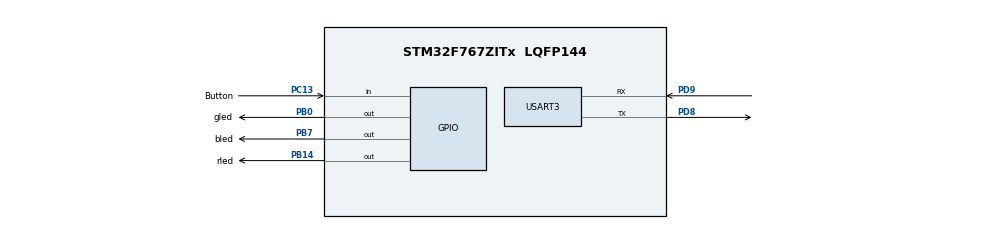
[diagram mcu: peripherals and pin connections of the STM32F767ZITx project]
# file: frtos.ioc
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FREERTOS.Tasks01=defaultTask,24,128,StartDefaultTask,Default,NULL,Dynamic,NULL,NULL;myTask02,8,128,StartTask02,Default,NULL,Dynamic,NULL,NULL;button_task,40,128,Start_button,Default,NULL,Dynamic,NULL,NULL
Mcu.Family=STM32F7
Mcu.Name=STM32F767ZITx
Mcu.Package=LQFP144
NVIC.PriorityGroup=NVIC_PRIORITYGROUP_4
NVIC.USART3_IRQn=true\:5\:0\:false\:false\:true\:true\:true\:true
PB0.GPIO_Label=gled
PB0.Signal=GPIO_Output
PB14.GPIO_Label=rled
PB14.Signal=GPIO_Output
PB7.GPIO_Label=bled
PB7.Signal=GPIO_Output
PC13.GPIO_Label=Button
PC13.Signal=GPIO_Input
PD8.Mode=Asynchronous
PD8.Signal=USART3_TX
PD9.Mode=Asynchronous
PD9.Signal=USART3_RX
ProjectManager.HeapSize=0x200
ProjectManager.StackSize=0x400
ProjectManager.TargetToolchain=STM32CubeIDE
RCC.HSE_VALUE=25000000
RCC.HSI_VALUE=16000000
RCC.LSE_VALUE=32768
RCC.USBFreq_Value=96000000
RCC.VCOOutputFreq_Value=192000000
RTC.Hours=12
USART3.VirtualMode-Asynchronous=VM_ASYNC
VP_FREERTOS_VS_CMSIS_V2.Mode=CMSIS_V2
VP_RTC_VS_RTC_Activate.Mode=RTC_Enabled
VP_RTC_VS_RTC_Calendar.Mode=RTC_Calendar
board=custom

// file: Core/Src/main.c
/* USER CODE BEGIN Header */
/**
  ******************************************************************************
  * @file           : main.c
  * @brief          : Main program body
  ******************************************************************************
  * @attention
  *
  * <h2><center>&copy; Copyright (c) 2023 STMicroelectronics.
  * All rights reserved.</center></h2>
  *
  * This software component is licensed by ST under BSD 3-Clause license,
  * the "License"; You may not use this file except in compliance with the
  * License. You may obtain a copy of the License at:
  *                        opensource.org/licenses/BSD-3-Clause
  *
  ******************************************************************************
  */
/* USER CODE END Header */
#include "main.h"
#include "cmsis_os.h"

/* USER CODE BEGIN Includes */
#include"queue.h"
#include"semphr.h"
#include"FreeRTOS.h"
/* USER CODE END Includes */

RTC_HandleTypeDef hrtc;

UART_HandleTypeDef huart3;

/* Definitions for Employee_task */
osThreadId_t Employee_taskHandle;
const osThreadAttr_t Employee_task_attributes = {
  .name = "Employee_task",
  .stack_size = 128 * 4,
  .priority = (osPriority_t) osPriorityLow,
};
/* Definitions for Manager_task */
osThreadId_t Manager_taskHandle;
const osThreadAttr_t Manager_task_attributes = {
  .name = "Manager_task",
  .stack_size = 128 * 4,
  .priority = (osPriority_t) osPriorityHigh,
};
/* USER CODE BEGIN PV */
xSemaphoreHandle xWork;
QueueHandle_t xWorkQueue;
/* USER CODE END PV */

void SystemClock_Config(void);
static void MX_GPIO_Init(void);
static void MX_RTC_Init(void);
static void MX_USART3_UART_Init(void);
void Start_employee_task(void *argument);
void Start_manager_task(void *argument);
void send(void);

int main(void)
{

  /* MCU Configuration--------------------------------------------------------*/

  /* Reset of all peripherals, Initializes the Flash interface and the Systick. */
  HAL_Init();

  /* Configure the system clock */
  SystemClock_Config();

  /* Initialize all configured peripherals */
  MX_GPIO_Init();
  MX_RTC_Init();
  MX_USART3_UART_Init();

  /* Init scheduler */
  osKernelInitialize();

  /* USER CODE BEGIN RTOS_SEMAPHORES */
  /* add semaphores, ... */
  xWork=xSemaphoreCreateMutex();
  /* USER CODE END RTOS_SEMAPHORES */

  /* USER CODE BEGIN RTOS_QUEUES */
  /* add queues, ... */

  xWorkQueue = xQueueCreate(1,sizeof(uint8_t));
  /* USER CODE END RTOS_QUEUES */

  /* Create the thread(s) */
  /* creation of Employee_task */
  Employee_taskHandle = osThreadNew(Start_employee_task, NULL, &Employee_task_attributes);

  /* creation of Manager_task */
  Manager_taskHandle = osThreadNew(Start_manager_task, NULL, &Manager_task_attributes);

  /* Start scheduler */
  osKernelStart();

  /* We should never get here as control is now taken by the scheduler */
  /* Infinite loop */
  while (1)
  {

  }
}

void SystemClock_Config(void)
{
  RCC_OscInitTypeDef RCC_OscInitStruct = {0};
  RCC_ClkInitTypeDef RCC_ClkInitStruct = {0};
  RCC_PeriphCLKInitTypeDef PeriphClkInitStruct = {0};

  /** Configure the main internal regulator output voltage
  */
  __HAL_RCC_PWR_CLK_ENABLE();
  __HAL_PWR_VOLTAGESCALING_CONFIG(PWR_REGULATOR_VOLTAGE_SCALE3);
  /** Initializes the RCC Oscillators according to the specified parameters
  * in the RCC_OscInitTypeDef structure.
  */
  RCC_OscInitStruct.OscillatorType = RCC_OSCILLATORTYPE_HSI|RCC_OSCILLATORTYPE_LSI;
  RCC_OscInitStruct.HSIState = RCC_HSI_ON;
  RCC_OscInitStruct.HSICalibrationValue = RCC_HSICALIBRATION_DEFAULT;
  RCC_OscInitStruct.LSIState = RCC_LSI_ON;
  RCC_OscInitStruct.PLL.PLLState = RCC_PLL_NONE;
  if (HAL_RCC_OscConfig(&RCC_OscInitStruct) != HAL_OK)
  {
    Error_Handler();
  }
  /** Initializes the CPU, AHB and APB buses clocks
  */
  RCC_ClkInitStruct.ClockType = RCC_CLOCKTYPE_HCLK|RCC_CLOCKTYPE_SYSCLK
                              |RCC_CLOCKTYPE_PCLK1|RCC_CLOCKTYPE_PCLK2;
  RCC_ClkInitStruct.SYSCLKSource = RCC_SYSCLKSOURCE_HSI;
  RCC_ClkInitStruct.AHBCLKDivider = RCC_SYSCLK_DIV1;
  RCC_ClkInitStruct.APB1CLKDivider = RCC_HCLK_DIV1;
  RCC_ClkInitStruct.APB2CLKDivider = RCC_HCLK_DIV1;

  if (HAL_RCC_ClockConfig(&RCC_ClkInitStruct, FLASH_LATENCY_0) != HAL_OK)
  {
    Error_Handler();
  }
  PeriphClkInitStruct.PeriphClockSelection = RCC_PERIPHCLK_RTC|RCC_PERIPHCLK_USART3;
  PeriphClkInitStruct.RTCClockSelection = RCC_RTCCLKSOURCE_LSI;
  PeriphClkInitStruct.Usart3ClockSelection = RCC_USART3CLKSOURCE_PCLK1;
  if (HAL_RCCEx_PeriphCLKConfig(&PeriphClkInitStruct) != HAL_OK)
  {
    Error_Handler();
  }
}

static void MX_RTC_Init(void)
{

  RTC_TimeTypeDef sTime = {0};
  RTC_DateTypeDef sDate = {0};

  /** Initialize RTC Only
  */
  hrtc.Instance = RTC;
  hrtc.Init.HourFormat = RTC_HOURFORMAT_24;
  hrtc.Init.AsynchPrediv = 127;
  hrtc.Init.SynchPrediv = 255;
  hrtc.Init.OutPut = RTC_OUTPUT_DISABLE;
  hrtc.Init.OutPutPolarity = RTC_OUTPUT_POLARITY_HIGH;
  hrtc.Init.OutPutType = RTC_OUTPUT_TYPE_OPENDRAIN;
  if (HAL_RTC_Init(&hrtc) != HAL_OK)
  {
    Error_Handler();
  }

  /** Initialize RTC and set the Time and Date
  */
  sTime.Hours = 0x12;
  sTime.Minutes = 0x0;
  sTime.Seconds = 0x0;
  sTime.DayLightSaving = RTC_DAYLIGHTSAVING_NONE;
  sTime.StoreOperation = RTC_STOREOPERATION_RESET;
  if (HAL_RTC_SetTime(&hrtc, &sTime, RTC_FORMAT_BCD) != HAL_OK)
  {
    Error_Handler();
  }
  sDate.WeekDay = RTC_WEEKDAY_MONDAY;
  sDate.Month = RTC_MONTH_JANUARY;
  sDate.Date = 0x1;
  sDate.Year = 0x0;

  if (HAL_RTC_SetDate(&hrtc, &sDate, RTC_FORMAT_BCD) != HAL_OK)
  {
    Error_Handler();
  }

}

static void MX_USART3_UART_Init(void)
{

  huart3.Instance = USART3;
  huart3.Init.BaudRate = 115200;
  huart3.Init.WordLength = UART_WORDLENGTH_8B;
  huart3.Init.StopBits = UART_STOPBITS_1;
  huart3.Init.Parity = UART_PARITY_NONE;
  huart3.Init.Mode = UART_MODE_TX_RX;
  huart3.Init.HwFlowCtl = UART_HWCONTROL_NONE;
  huart3.Init.OverSampling = UART_OVERSAMPLING_16;
  huart3.Init.OneBitSampling = UART_ONE_BIT_SAMPLE_DISABLE;
  huart3.AdvancedInit.AdvFeatureInit = UART_ADVFEATURE_NO_INIT;
  if (HAL_UART_Init(&huart3) != HAL_OK)
  {
    Error_Handler();
  }

}

static void MX_GPIO_Init(void)
{
  GPIO_InitTypeDef GPIO_InitStruct = {0};

  /* GPIO Ports Clock Enable */
  __HAL_RCC_GPIOC_CLK_ENABLE();
  __HAL_RCC_GPIOB_CLK_ENABLE();
  __HAL_RCC_GPIOD_CLK_ENABLE();

  /*Configure GPIO pin Output Level */
  HAL_GPIO_WritePin(GPIOB, gled_Pin|rled_Pin|bled_Pin, GPIO_PIN_RESET);

  /*Configure GPIO pin : Button_Pin */
  GPIO_InitStruct.Pin = Button_Pin;
  GPIO_InitStruct.Mode = GPIO_MODE_INPUT;
  GPIO_InitStruct.Pull = GPIO_NOPULL;
  HAL_GPIO_Init(Button_GPIO_Port, &GPIO_InitStruct);

  /*Configure GPIO pins : gled_Pin rled_Pin bled_Pin */
  GPIO_InitStruct.Pin = gled_Pin|rled_Pin|bled_Pin;
  GPIO_InitStruct.Mode = GPIO_MODE_OUTPUT_PP;
  GPIO_InitStruct.Pull = GPIO_NOPULL;
  GPIO_InitStruct.Speed = GPIO_SPEED_FREQ_LOW;
  HAL_GPIO_Init(GPIOB, &GPIO_InitStruct);

}

/* USER CODE BEGIN 4 */
void send()
{
	char data[20]="data transmitting";

	xSemaphoreTake(xWork,1000);
	HAL_UART_Transmit(&huart3, data, sizeof(data), 10);
	HAL_Delay(2000);
	xSemaphoreGive(xWork);
}
/* USER CODE END 4 */

void Start_employee_task(void *argument)
{
  /* USER CODE BEGIN 5 */
  /* Infinite loop */
	send();
		char low[15]="in low task";
		HAL_UART_Transmit(&huart3, low,sizeof(low), 10);

  /* USER CODE END 5 */
}

void Start_manager_task(void *argument)
{
  /* USER CODE BEGIN Start_manager_task */
  /* Infinite loop */
	send();

		  char high[15]="in high task";
		  HAL_UART_Transmit(&huart3, high, sizeof(high), 10);
		  vTaskDelay(1000);

  /* USER CODE END Start_manager_task */
}

void Error_Handler(void)
{
  __disable_irq();
  while (1)
  {
  }
}

/************************ (C) COPYRIGHT STMicroelectronics *****END OF FILE****/
